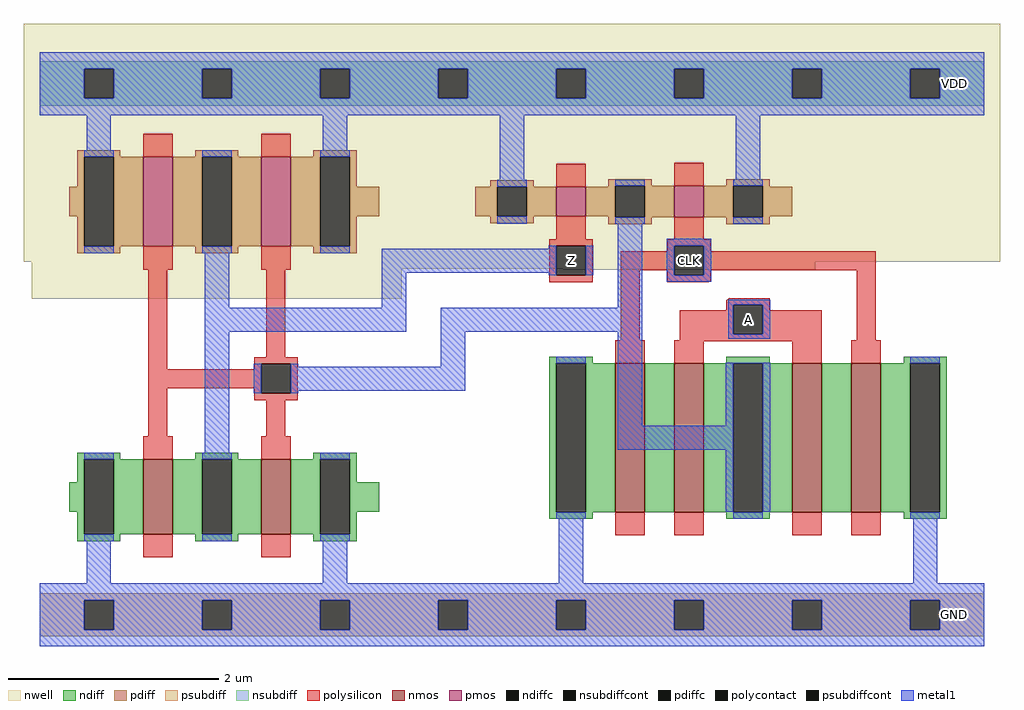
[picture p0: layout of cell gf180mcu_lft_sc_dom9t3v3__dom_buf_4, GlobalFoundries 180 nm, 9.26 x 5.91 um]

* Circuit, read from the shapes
.subckt gf180mcu_lft_sc_dom9t3v3__dom_buf_4 GND VDD A CLK Z
XM1 Z n1 GND GND nfet_03v3 w=0.71u l=0.28u m=2
XM2 n2 CLK GND GND nfet_03v3 w=1.41u l=0.28u
XM3 n1 A n2 GND nfet_03v3 w=1.41u l=0.28u
XM4 n3 A n1 GND nfet_03v3 w=1.41u l=0.28u
XM5 GND CLK n3 GND nfet_03v3 w=1.41u l=0.28u
XM6 Z n1 VDD VDD pfet_03v3 w=0.85u l=0.28u m=2
XM7 n1 Z VDD VDD pfet_03v3 w=0.28u l=0.28u
XM8 VDD CLK n1 VDD pfet_03v3 w=0.3u l=0.28u
.ends

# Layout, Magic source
magic
tech gf180mcuD
magscale 1 10
<< nwell >>
rect -30 670 1822 1122
rect -15 657 1471 670
rect -15 600 687 657
rect 993 655 1471 657
<< nmos >>
rect 196 153 252 295
rect 420 153 476 295
rect 1092 195 1148 477
rect 1204 195 1260 477
rect 1428 195 1484 477
rect 1540 195 1596 477
<< pmos >>
rect 196 699 252 869
rect 420 699 476 869
rect 980 756 1036 812
rect 1204 754 1260 814
<< ndiff >>
rect 967 477 1049 490
rect 1303 477 1385 490
rect 1639 477 1721 490
rect 71 295 153 308
rect 295 295 377 308
rect 519 295 601 308
rect 71 252 84 295
rect 56 196 84 252
rect 71 153 84 196
rect 140 153 196 295
rect 252 153 308 295
rect 364 153 420 295
rect 476 153 532 295
rect 588 252 601 295
rect 588 196 644 252
rect 588 153 601 196
rect 967 195 980 477
rect 1036 195 1092 477
rect 1148 195 1204 477
rect 1260 195 1316 477
rect 1372 195 1428 477
rect 1484 195 1540 477
rect 1596 195 1652 477
rect 1708 195 1721 477
rect 967 182 1049 195
rect 71 140 153 153
rect 295 140 377 153
rect 519 140 601 153
rect 1303 182 1385 195
rect 1639 182 1721 195
<< pdiff >>
rect 71 869 153 882
rect 295 869 377 882
rect 519 869 601 882
rect 71 812 84 869
rect 56 756 84 812
rect 71 699 84 756
rect 140 699 196 869
rect 252 699 308 869
rect 364 699 420 869
rect 476 699 532 869
rect 588 812 601 869
rect 855 812 937 825
rect 1079 814 1161 827
rect 1303 814 1385 827
rect 1079 812 1092 814
rect 588 756 644 812
rect 826 756 868 812
rect 924 756 980 812
rect 1036 756 1092 812
rect 588 699 601 756
rect 855 743 937 756
rect 1079 754 1092 756
rect 1148 754 1204 814
rect 1260 754 1316 814
rect 1372 812 1385 814
rect 1372 756 1428 812
rect 1372 754 1385 756
rect 1079 741 1161 754
rect 1303 741 1385 754
rect 71 686 153 699
rect 295 686 377 699
rect 519 686 601 699
<< ndiffc >>
rect 84 153 140 295
rect 308 153 364 295
rect 532 153 588 295
rect 980 195 1036 477
rect 1316 195 1372 477
rect 1652 195 1708 477
<< pdiffc >>
rect 84 699 140 869
rect 308 699 364 869
rect 532 699 588 869
rect 868 756 924 812
rect 1092 754 1148 814
rect 1316 754 1372 814
<< psubdiff >>
rect 0 28 1792 41
rect 0 -28 84 28
rect 140 -28 308 28
rect 364 -28 532 28
rect 588 -28 756 28
rect 812 -28 980 28
rect 1036 -28 1204 28
rect 1260 -28 1428 28
rect 1484 -28 1652 28
rect 1708 -28 1792 28
rect 0 -41 1792 -28
<< nsubdiff >>
rect 0 1036 1792 1050
rect 0 980 84 1036
rect 140 980 308 1036
rect 364 980 532 1036
rect 588 980 756 1036
rect 812 980 980 1036
rect 1036 980 1204 1036
rect 1260 980 1428 1036
rect 1484 980 1652 1036
rect 1708 980 1792 1036
rect 0 966 1792 980
<< psubdiffcont >>
rect 84 -28 140 28
rect 308 -28 364 28
rect 532 -28 588 28
rect 756 -28 812 28
rect 980 -28 1036 28
rect 1204 -28 1260 28
rect 1428 -28 1484 28
rect 1652 -28 1708 28
<< nsubdiffcont >>
rect 84 980 140 1036
rect 308 980 364 1036
rect 532 980 588 1036
rect 756 980 812 1036
rect 980 980 1036 1036
rect 1204 980 1260 1036
rect 1428 980 1484 1036
rect 1652 980 1708 1036
<< polysilicon >>
rect 196 869 252 913
rect 420 869 476 913
rect 980 812 1036 856
rect 1204 814 1260 858
rect 980 713 1036 756
rect 1204 713 1260 754
rect 196 655 252 699
rect 420 655 476 699
rect 967 700 1049 713
rect 206 466 242 655
rect 430 489 466 655
rect 967 644 980 700
rect 1036 644 1049 700
rect 1191 700 1273 713
rect 1191 690 1204 700
rect 967 631 1049 644
rect 1102 654 1204 690
rect 1102 521 1138 654
rect 1191 644 1204 654
rect 1260 690 1273 700
rect 1260 654 1586 690
rect 1260 644 1273 654
rect 1191 635 1273 644
rect 1191 634 1272 635
rect 1191 633 1271 634
rect 1191 632 1270 633
rect 1191 631 1269 632
rect 1307 600 1385 601
rect 1306 599 1385 600
rect 1305 598 1385 599
rect 1304 597 1385 598
rect 1303 588 1385 597
rect 1303 578 1316 588
rect 1214 532 1316 578
rect 1372 578 1385 588
rect 1372 532 1484 578
rect 1214 521 1484 532
rect 1550 521 1586 654
rect 407 476 489 489
rect 407 466 420 476
rect 206 430 420 466
rect 206 339 242 430
rect 407 420 420 430
rect 476 420 489 476
rect 407 407 489 420
rect 1092 477 1148 521
rect 1204 519 1484 521
rect 1204 477 1260 519
rect 1428 477 1484 519
rect 1540 477 1596 521
rect 430 339 466 407
rect 196 295 252 339
rect 420 295 476 339
rect 196 109 252 153
rect 420 109 476 153
rect 1092 151 1148 195
rect 1204 151 1260 195
rect 1428 151 1484 195
rect 1540 151 1596 195
<< polycontact >>
rect 980 644 1036 700
rect 1204 644 1260 700
rect 1316 532 1372 588
rect 420 420 476 476
<< metal1 >>
rect 0 1036 1792 1068
rect 0 980 84 1036
rect 140 980 308 1036
rect 364 980 532 1036
rect 588 980 756 1036
rect 812 980 980 1036
rect 1036 980 1204 1036
rect 1260 980 1428 1036
rect 1484 980 1652 1036
rect 1708 980 1792 1036
rect 0 948 1792 980
rect 89 882 135 948
rect 537 882 583 948
rect 84 869 140 882
rect 84 686 140 699
rect 308 869 364 882
rect 308 686 364 699
rect 532 869 588 882
rect 873 826 919 948
rect 1321 826 1367 948
rect 868 812 924 826
rect 868 742 924 756
rect 1092 814 1148 826
rect 1092 742 1148 754
rect 1316 814 1372 826
rect 1316 742 1372 754
rect 532 686 588 699
rect 966 695 980 700
rect 313 583 359 686
rect 649 649 980 695
rect 649 583 695 649
rect 966 644 980 649
rect 1036 644 1050 700
rect 1097 583 1143 742
rect 1190 700 1274 714
rect 1190 644 1204 700
rect 1260 644 1274 700
rect 1190 632 1274 644
rect 313 537 695 583
rect 761 537 1143 583
rect 313 308 359 537
rect 406 420 420 476
rect 476 471 490 476
rect 761 471 807 537
rect 476 425 807 471
rect 980 477 1036 490
rect 476 420 490 425
rect 84 295 140 308
rect 84 140 140 153
rect 308 295 364 308
rect 308 140 364 153
rect 532 295 588 308
rect 1097 359 1143 537
rect 1306 588 1386 598
rect 1306 532 1316 588
rect 1372 532 1386 588
rect 1306 524 1386 532
rect 1302 477 1386 478
rect 1302 359 1316 477
rect 1097 313 1316 359
rect 1302 196 1316 313
rect 980 182 1036 195
rect 1372 196 1386 477
rect 1652 477 1708 490
rect 1316 182 1372 195
rect 1652 182 1708 195
rect 532 140 588 153
rect 89 60 135 140
rect 537 60 583 140
rect 985 60 1031 182
rect 1657 60 1703 182
rect 0 28 1792 60
rect 0 -28 84 28
rect 140 -28 308 28
rect 364 -28 532 28
rect 588 -28 756 28
rect 812 -28 980 28
rect 1036 -28 1204 28
rect 1260 -28 1428 28
rect 1484 -28 1652 28
rect 1708 -28 1792 28
rect 0 -60 1792 -28
<< labels >>
rlabel metal1 1736 0 1736 0 3 GND
port 1 e
rlabel metal1 1736 1008 1736 1008 3 VDD
port 2 e
rlabel polycontact 1344 560 1344 560 3 A
port 3 e
rlabel polycontact 1232 672 1232 672 3 CLK
port 4 e
rlabel polycontact 1008 672 1008 672 3 Z
port 5 e
<< properties >>
string FIXED_BBOX 0 0 1792 1008
<< end >>
